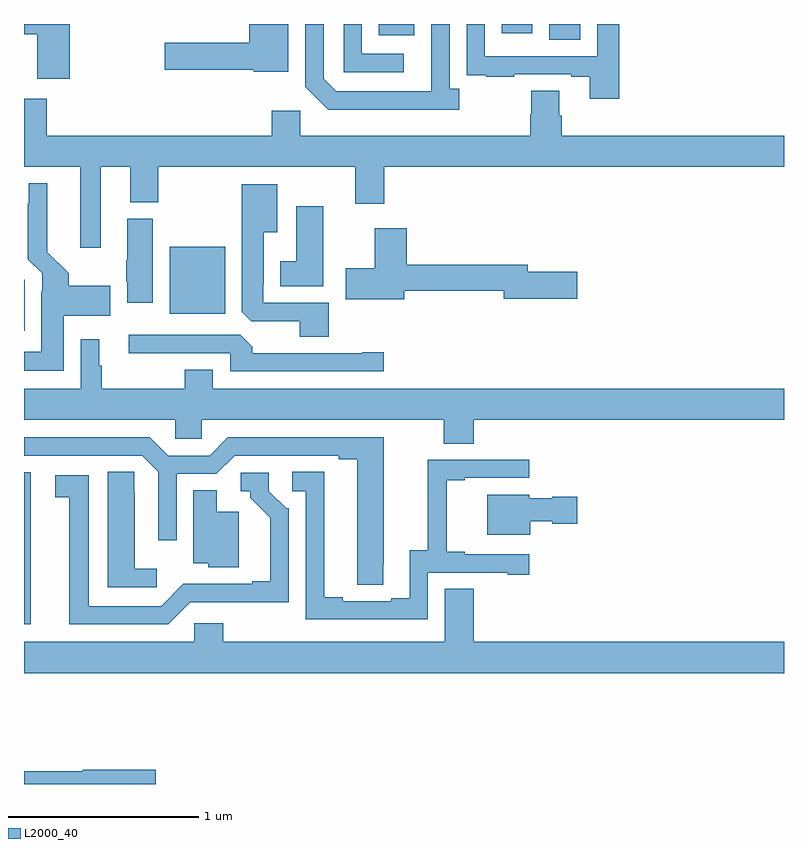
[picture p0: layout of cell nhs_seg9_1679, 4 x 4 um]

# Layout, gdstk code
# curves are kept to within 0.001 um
import gdstk
lib = gdstk.Library(unit=1e-6, precision=1e-09)
def R(c, l, rs):  # rectangles x0, y0, x1, y1
    for r in rs: c.add(gdstk.rectangle(r[:2], r[2:], *l))
def P(c, l, *ps):  # polygons
    for p in ps: c.add(gdstk.Polygon(p, *l))
L2000_40 = (2000, 40)

nhs_seg9_1679 = lib.new_cell('nhs_seg9_1679')
R(nhs_seg9_1679, L2000_40, [(205,1199.34,205.036,1200.142), (205,1200.885,205.003,1201.153), (205.766,1200.974,206.059,1201.327), (207.764,1202.416,207.928,1202.5), (206.867,1202.441,207.055,1202.5), (207.515,1202.451,207.676,1202.5)])
P(nhs_seg9_1679, L2000_40, [(205.24,1202.5),(205,1202.5),(205,1202.446),(205.07,1202.446),(205.07,1202.213),(205.24,1202.213)],
  [(206.392,1202.5),(206.185,1202.5),(206.185,1202.402),(205.74,1202.402),(205.74,1202.26),(206.208,1202.26),(206.208,1202.249),(206.392,1202.249)],
  [(206.998,1202.343),(206.778,1202.343),(206.778,1202.5),(206.682,1202.5),(206.682,1202.247),(206.998,1202.247)],
  [(207.292,1202.158),(207.24,1202.158),(207.24,1202.5),(207.144,1202.5),(207.143,1202.145),(206.643,1202.145),(206.577,1202.211),(206.577,1202.5),(206.481,1202.5),(206.481,1202.169),(206.602,1202.048),(207.292,1202.048)],
  [(208.133,1202.5),(208.017,1202.5),(208.017,1202.331),(207.426,1202.331),(207.426,1202.5),(207.33,1202.5),(207.33,1202.338),(207.331,1202.338),(207.331,1202.229),(207.433,1202.229),(207.433,1202.223),(207.581,1202.223),(207.581,1202.235),(207.881,1202.235),(207.881,1202.223),(207.977,1202.223),(207.977,1202.106),(208.133,1202.106)],
  [(205.405,1201.748),(205.559,1201.748),(205.559,1201.561),(205.707,1201.561),(205.707,1201.748),(206.744,1201.748),(206.744,1201.554),(206.897,1201.554),(206.897,1201.748),(209,1201.748),(209,1201.912),(207.83,1201.912),(207.83,1202.018),(207.817,1202.018),(207.817,1202.15),(207.67,1202.15),(207.67,1202.025),(207.665,1202.025),(207.665,1201.912),(206.454,1201.912),(206.454,1202.044),(206.303,1202.044),(206.303,1201.912),(205.121,1201.912),(205.121,1202.107),(205,1202.107),(205,1201.748),(205.295,1201.748),(205.295,1201.323),(205.405,1201.323)],
  [(205.21,1200.965),(205.453,1200.965),(205.453,1201.123),(205.236,1201.123),(205.236,1201.187),(205.123,1201.3),(205.123,1201.663),(205.025,1201.663),(205.025,1201.553),(205.021,1201.553),(205.021,1201.262),(205.095,1201.188),(205.095,1201.094),(205.091,1201.094),(205.091,1200.775),(205,1200.775),(205,1200.674),(205.21,1200.674)],
  [(206.603,1201.032),(206.259,1201.032),(206.259,1201.129),(206.263,1201.129),(206.263,1201.403),(206.332,1201.403),(206.332,1201.657),(206.147,1201.657),(206.147,1200.985),(206.196,1200.936),(206.45,1200.936),(206.45,1200.853),(206.603,1200.853)],
  [(206.575,1201.54),(206.432,1201.54),(206.432,1201.252),(206.348,1201.252),(206.348,1201.121),(206.575,1201.121)],
  [(205.678,1201.476),(205.544,1201.476),(205.544,1201.257),(205.537,1201.257),(205.537,1201.144),(205.544,1201.144),(205.544,1201.032),(205.678,1201.032)],
  [(207.001,1201.096),(207.524,1201.096),(207.524,1201.054),(207.913,1201.054),(207.913,1201.196),(207.652,1201.196),(207.652,1201.232),(207.014,1201.232),(207.014,1201.426),(206.846,1201.426),(206.846,1201.215),(206.694,1201.215),(206.694,1201.052),(207.001,1201.052)],
  [(206.893,1200.773),(206.78,1200.773),(206.78,1200.768),(206.201,1200.768),(206.201,1200.802),(206.139,1200.864),(205.551,1200.864),(205.551,1200.768),(206.085,1200.768),(206.085,1200.672),(206.893,1200.672)],
  [(205.993,1200.679),(205.846,1200.679),(205.846,1200.58),(205.408,1200.58),(205.408,1200.702),(205.396,1200.702),(205.396,1200.841),(205.299,1200.841),(205.299,1200.58),(205,1200.58),(205,1200.416),(205.797,1200.416),(205.797,1200.318),(205.935,1200.318),(205.935,1200.416),(207.208,1200.416),(207.208,1200.292),(207.368,1200.292),(207.368,1200.416),(209,1200.416),(209,1200.58),(205.993,1200.58)],
  [(206.892,1199.656),(206.893,1200.324),(206.073,1200.324),(205.977,1200.228),(205.759,1200.228),(205.663,1200.324),(205,1200.324),(205,1200.228),(205.623,1200.228),(205.707,1200.144),(205.707,1199.784),(205.803,1199.784),(205.803,1200.132),(206.013,1200.132),(206.109,1200.228),(206.657,1200.228),(206.657,1200.208),(206.753,1200.208),(206.753,1199.548),(206.892,1199.548)],
  [(207.126,1199.613),(207.545,1199.613),(207.545,1199.601),(207.658,1199.601),(207.658,1199.709),(207.319,1199.709),(207.319,1199.722),(207.224,1199.722),(207.224,1200.099),(207.319,1200.099),(207.319,1200.111),(207.658,1200.111),(207.658,1200.207),(207.124,1200.207),(207.124,1199.729),(207.029,1199.729),(207.029,1199.478),(206.933,1199.478),(206.933,1199.463),(206.677,1199.463),(206.677,1199.483),(206.581,1199.483),(206.581,1200.143),(206.412,1200.143),(206.412,1200.042),(206.484,1200.042),(206.484,1199.367),(207.126,1199.367)],
  [(205.699,1199.632),(205.582,1199.632),(205.582,1200.035),(205.581,1200.035),(205.581,1200.143),(205.442,1200.143),(205.442,1199.535),(205.699,1199.535)],
  [(205.875,1199.457),(206.394,1199.456),(206.394,1199.952),(206.379,1199.952),(206.289,1200.042),(206.289,1200.138),(206.142,1200.138),(206.142,1200.042),(206.192,1200.042),(206.192,1200.007),(206.297,1199.902),(206.297,1199.566),(206.201,1199.566),(206.201,1199.553),(205.839,1199.553),(205.722,1199.436),(205.342,1199.436),(205.342,1200.126),(205.164,1200.126),(205.164,1200.01),(205.238,1200.01),(205.238,1199.34),(205.758,1199.34)],
  [(206.131,1199.932),(206.014,1199.932),(206.014,1200.047),(205.892,1200.047),(205.892,1199.663),(205.971,1199.663),(205.971,1199.642),(206.131,1199.642)],
  [(207.664,1199.882),(207.78,1199.882),(207.78,1199.87),(207.913,1199.87),(207.913,1200.012),(207.78,1200.012),(207.78,1200.004),(207.66,1200.004),(207.66,1200.022),(207.437,1200.022),(207.437,1199.813),(207.664,1199.813)],
  [(209,1199.248),(207.368,1199.248),(207.368,1199.528),(207.215,1199.528),(207.215,1199.248),(206.048,1199.248),(206.048,1199.346),(205.896,1199.346),(205.896,1199.248),(205,1199.248),(205,1199.084),(209,1199.084)],
  [(205.693,1198.574),(205.308,1198.574),(205.308,1198.568),(205,1198.568),(205,1198.5),(205.693,1198.5)])

lib.write_gds('nhs_seg9_1679.gds')
